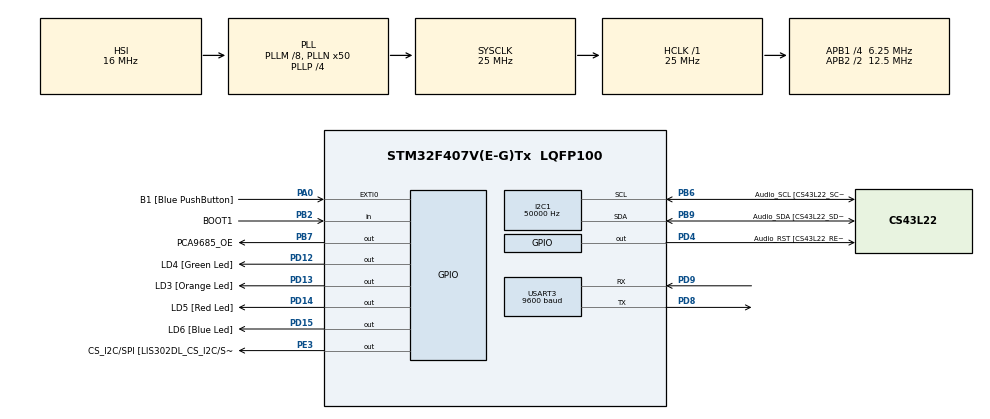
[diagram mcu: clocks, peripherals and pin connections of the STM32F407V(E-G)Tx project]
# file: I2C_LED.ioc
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I2C1.ClockSpeed=50000
Mcu.Family=STM32F4
Mcu.Name=STM32F407V(E-G)Tx
Mcu.Package=LQFP100
NVIC.PriorityGroup=NVIC_PRIORITYGROUP_0
NVIC.USART3_IRQn=true\:0\:0\:false\:false\:true\:true\:true\:true
PA0-WKUP.GPIO_Label=B1 [Blue PushButton]
PA0-WKUP.Signal=GPXTI0
PA4.GPIO_Label=I2S3_WS [CS43L22_LRCK]
PA4.GPIO_Mode=GPIO_MODE_AF_PP
PA4.GPIO_PuPd=GPIO_NOPULL
PA4.GPIO_Speed=GPIO_SPEED_FREQ_LOW
PA4.Signal=I2S3_WS
PA5.GPIO_Label=SPI1_SCK [LIS302DL_SCL/SPC]
PA5.GPIO_Mode=GPIO_MODE_AF_PP
PA5.GPIO_PuPd=GPIO_NOPULL
PA5.GPIO_Speed=GPIO_SPEED_FREQ_LOW
PA5.Signal=SPI1_SCK
PA6.GPIO_Label=SPI1_MISO [LIS302DL_SDO]
PA6.GPIO_Mode=GPIO_MODE_AF_PP
PA6.GPIO_PuPd=GPIO_NOPULL
PA6.GPIO_Speed=GPIO_SPEED_FREQ_LOW
PA6.Signal=SPI1_MISO
PA7.GPIO_Label=SPI1_MOSI [LIS302DL_SDA/SDI/SDO]
PA7.GPIO_Mode=GPIO_MODE_AF_PP
PA7.GPIO_PuPd=GPIO_NOPULL
PA7.GPIO_Speed=GPIO_SPEED_FREQ_LOW
PA7.Signal=SPI1_MOSI
PB10.GPIO_Label=CLK_IN [MP45DT02_CLK]
PB10.GPIO_Mode=GPIO_MODE_AF_PP
PB10.GPIO_PuPd=GPIO_NOPULL
PB10.GPIO_Speed=GPIO_SPEED_FREQ_LOW
PB10.Signal=I2S2_CK
PB2.GPIO_Label=BOOT1
PB2.GPIO_Mode=GPIO_MODE_INPUT
PB2.GPIO_PuPd=GPIO_NOPULL
PB2.Signal=GPIO_Input
PB3.GPIO_Label=SWO
PB3.Signal=SYS_JTDO-SWO
PB6.GPIO_Label=Audio_SCL [CS43L22_SCL]
PB6.GPIO_Mode=GPIO_MODE_AF_OD
PB6.GPIO_PuPd=GPIO_NOPULL
PB6.GPIO_Speed=GPIO_SPEED_FREQ_LOW
PB6.Mode=I2C
PB6.Signal=I2C1_SCL
PB7.GPIO_Label=PCA9685_OE
PB7.PinState=GPIO_PIN_SET
PB7.Signal=GPIO_Output
PB9.GPIO_Label=Audio_SDA [CS43L22_SDA]
PB9.GPIO_Mode=GPIO_MODE_AF_OD
PB9.GPIO_PuPd=GPIO_NOPULL
PB9.GPIO_Speed=GPIO_SPEED_FREQ_LOW
PB9.Mode=I2C
PB9.Signal=I2C1_SDA
PC10.GPIO_Label=I2S3_SCK [CS43L22_SCLK]
PC10.GPIO_Mode=GPIO_MODE_AF_PP
PC10.GPIO_PuPd=GPIO_NOPULL
PC10.GPIO_Speed=GPIO_SPEED_FREQ_LOW
PC10.Signal=I2S3_CK
PC12.GPIO_Label=I2S3_SD [CS43L22_SDIN]
PC12.GPIO_Mode=GPIO_MODE_AF_PP
PC12.GPIO_PuPd=GPIO_NOPULL
PC12.GPIO_Speed=GPIO_SPEED_FREQ_LOW
PC12.Signal=I2S3_SD
PC7.GPIO_Label=I2S3_MCK [CS43L22_MCLK]
PC7.GPIO_Mode=GPIO_MODE_AF_PP
PC7.GPIO_PuPd=GPIO_NOPULL
PC7.GPIO_Speed=GPIO_SPEED_FREQ_LOW
PC7.Signal=I2S3_MCK
PD12.GPIO_Label=LD4 [Green Led]
PD12.GPIO_PuPd=GPIO_NOPULL
PD12.GPIO_Speed=GPIO_SPEED_FREQ_LOW
PD12.Signal=GPIO_Output
PD13.GPIO_Label=LD3 [Orange Led]
PD13.GPIO_PuPd=GPIO_NOPULL
PD13.GPIO_Speed=GPIO_SPEED_FREQ_LOW
PD13.Signal=GPIO_Output
PD14.GPIO_Label=LD5 [Red Led]
PD14.GPIO_PuPd=GPIO_NOPULL
PD14.GPIO_Speed=GPIO_SPEED_FREQ_LOW
PD14.Signal=GPIO_Output
PD15.GPIO_Label=LD6 [Blue Led]
PD15.GPIO_PuPd=GPIO_NOPULL
PD15.GPIO_Speed=GPIO_SPEED_FREQ_LOW
PD15.Signal=GPIO_Output
PD4.GPIO_Label=Audio_RST [CS43L22_RESET]
PD4.GPIO_PuPd=GPIO_NOPULL
PD4.GPIO_Speed=GPIO_SPEED_FREQ_LOW
PD4.Signal=GPIO_Output
PD8.Mode=Asynchronous
PD8.Signal=USART3_TX
PD9.Mode=Asynchronous
PD9.Signal=USART3_RX
PE3.GPIO_Label=CS_I2C/SPI [LIS302DL_CS_I2C/SPI]
PE3.GPIO_PuPd=GPIO_NOPULL
PE3.GPIO_Speed=GPIO_SPEED_FREQ_LOW
PE3.Signal=GPIO_Output
ProjectManager.HeapSize=0x200
ProjectManager.StackSize=0x400
ProjectManager.TargetToolchain=STM32CubeIDE
RCC.48MHZClocksFreq_Value=14285714.285714285
RCC.AHBFreq_Value=25000000
RCC.APB1CLKDivider=RCC_HCLK_DIV4
RCC.APB1Freq_Value=6250000
RCC.APB1TimFreq_Value=12500000
RCC.APB2CLKDivider=RCC_HCLK_DIV2
RCC.APB2Freq_Value=12500000
RCC.APB2TimFreq_Value=25000000
RCC.CortexFreq_Value=25000000
RCC.HCLKFreq_Value=25000000
RCC.HSE_VALUE=8000000
RCC.HSI_VALUE=16000000
RCC.LSE_VALUE=32768
RCC.PLLM=8
RCC.PLLN=50
RCC.PLLP=RCC_PLLP_DIV4
RCC.PLLQ=7
RCC.SYSCLKFreq_VALUE=25000000
RCC.SYSCLKSource=RCC_SYSCLKSOURCE_PLLCLK
RCC.VCOOutputFreq_Value=100000000
USART3.BaudRate=9600
USART3.VirtualMode=VM_ASYNC
board=STM32F407G-DISC1

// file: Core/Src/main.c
/* USER CODE BEGIN Header */
/**
  ******************************************************************************
  * @file           : main.c
  * @brief          : Main program body
  ******************************************************************************
  * @attention
  *
  * Copyright (c) 2026 STMicroelectronics.
  * All rights reserved.
  *
  * This software is licensed under terms that can be found in the LICENSE file
  * in the root directory of this software component.
  * If no LICENSE file comes with this software, it is provided AS-IS.
  *
  ******************************************************************************
  */
/* USER CODE END Header */
#include "main.h"

/* USER CODE BEGIN Includes */
#include "PCA9685_driver.h"

/* USER CODE END Includes */

/* USER CODE BEGIN PD */
#define SLEEP_MODE 0x10
#define PCA_ENABLE 0x01
#define PCA_DISABLED 0x00
#define STATUS_CONV(status) (status == HAL_OK) ? PCA9685_OK : PCA9685_ERROR
/* USER CODE END PD */

I2C_HandleTypeDef hi2c1;

UART_HandleTypeDef huart3;

/* USER CODE BEGIN PV */
uint16_t led_states[18];
uint8_t msg_buffer[4];
volatile uint8_t tx_complete = 1;
volatile uint8_t state_changed;
PCA9685_conf_t led_driver;
volatile pca9685_status_t status;
volatile char cmd;
/* USER CODE END PV */

void SystemClock_Config(void);
static void MX_GPIO_Init(void);
static void MX_I2C1_Init(void);
static void MX_USART3_UART_Init(void);
/* USER CODE BEGIN PFP */

pca9685_status_t stm32_sw_reset(void)
{
	HAL_StatusTypeDef status;
	uint8_t data = SW_DATA_BYTE;
	status = HAL_I2C_Master_Transmit(&hi2c1, SW_RESET_ADDR, &data, 1, PCA9685_I2C_TIMEOUT);
	return STATUS_CONV(status);
}

pca9685_status_t stm32_i2c_write(uint8_t dev_addr, uint8_t reg_addr, uint8_t *data, uint16_t len)
{
	HAL_StatusTypeDef status;

	status = HAL_I2C_Mem_Write(&hi2c1, dev_addr, reg_addr, I2C_MEMADD_SIZE_8BIT, data, len, PCA9685_I2C_TIMEOUT);
	return STATUS_CONV(status);
}

pca9685_status_t stm32_i2c_read(uint8_t dev_addr, uint8_t reg_addr, uint8_t *data, uint16_t len)
{
	HAL_StatusTypeDef status;
	status = HAL_I2C_Mem_Read(&hi2c1, dev_addr, reg_addr, I2C_MEMADD_SIZE_8BIT, data, len, PCA9685_I2C_TIMEOUT);
	return STATUS_CONV(status);
}

void stm32_set_oe(pca9685_oe_pin_state_t state)
{
	if(state == PCA9685_OE_ENABLE)
	{
		HAL_GPIO_WritePin(PCA9685_OE_GPIO_Port, PCA9685_OE_Pin, GPIO_PIN_RESET);
	}
	else
	{
		HAL_GPIO_WritePin(PCA9685_OE_GPIO_Port, PCA9685_OE_Pin, GPIO_PIN_SET);
	}
}

void stm32_delay(uint32_t ms)
{
	HAL_Delay(ms);
}

void HAL_UART_TxCpltCallback(UART_HandleTypeDef *huart)
{
	if(huart->Instance == USART3)
	{
		tx_complete = 1;
	}
}

void HAL_UART_RxCpltCallback(UART_HandleTypeDef *huart)
{
	if(huart->Instance == USART3)
	{
		cmd = msg_buffer[0];
	}

}

void run_command(char r_cmd)
{
	uint16_t payload = msg_buffer[2] | (msg_buffer[3] << 8);
	switch(cmd)
	{
	case 's':
	{
		status = PCA9685_set_sleep_mode(&led_driver);
		led_states[0] = led_states[0] | SLEEP_MODE;
		break;
	}
	case 'w':
	{
		status = PCA9685_wake_up(&led_driver);
		led_states[0] = led_states[0] & (~SLEEP_MODE);
		break;
	}
	case 'o':
	{
		if(msg_buffer[1] == 0)
		{
			status = PCA9685_set_oe(&led_driver, PCA9685_OE_DISABLE);
			led_states[0] = led_states[0] & (~PCA_ENABLE);
		}
		else
		{
			status = PCA9685_set_oe(&led_driver, PCA9685_OE_ENABLE);
			led_states[0] = led_states[0] | PCA_ENABLE;
		}
		break;
	}
	case 'f':
	{
		status = PCA9685_set_frequency(&led_driver, payload);
		led_states[1] = payload;
		break;
	}
	case 'd':
	{
		status = PCA9685_set_duty_cycle(&led_driver, msg_buffer[1], payload);
		if(msg_buffer[1] < 16)
		{
			led_states[2 + msg_buffer[1]] = payload;
		}
		break;
	}
	}
	cmd = 0;
	state_changed = 1;
	HAL_UART_Receive_IT(&huart3, (uint8_t*)msg_buffer, sizeof(msg_buffer));
}

/* USER CODE END PFP */

int main(void)
{

  /* MCU Configuration--------------------------------------------------------*/

  /* Reset of all peripherals, Initializes the Flash interface and the Systick. */
  HAL_Init();

  /* Configure the system clock */
  SystemClock_Config();

  /* Initialize all configured peripherals */
  MX_GPIO_Init();
  MX_I2C1_Init();
  MX_USART3_UART_Init();
  /* USER CODE BEGIN 2 */

  led_driver.sw_reset = stm32_sw_reset;
  led_driver.write = stm32_i2c_write;
  led_driver.read = stm32_i2c_read;
  led_driver.delay = stm32_delay;
  led_driver.set_oe = stm32_set_oe;
  led_driver.i2c_address = (0x40 << 1);

  if (PCA9685_init(&led_driver, 200) != PCA9685_OK)
  {
	  Error_Handler();
  }

  if (PCA9685_set_oe(&led_driver, PCA9685_OE_ENABLE) != PCA9685_OK)
  {
	  Error_Handler();
  }
  led_states[0] = led_states[0] | PCA_ENABLE;
  HAL_UART_Receive_IT(&huart3, (uint8_t*)msg_buffer, sizeof(msg_buffer));
  /* USER CODE END 2 */

  /* Infinite loop */
  while (1)
  {

    /* USER CODE BEGIN 3 */
	  if(cmd)
	  {
		  run_command(cmd);
	  }
	  __disable_irq();
	  if(tx_complete && state_changed)
	  {
		  tx_complete = 0;
		  state_changed = 0;
		  __enable_irq();
		  HAL_UART_Transmit_IT(&huart3, (uint8_t*)led_states, sizeof(led_states));
		  __disable_irq();
	  }
	  if (tx_complete == 1 && state_changed == 0 && cmd == 0)
	  {
		 HAL_SuspendTick();
		 HAL_PWR_EnterSLEEPMode(PWR_MAINREGULATOR_ON, PWR_SLEEPENTRY_WFI);
		 HAL_ResumeTick();
		 __enable_irq();
	  }
	  else
	  {
		  __enable_irq();
	  }
	  if(status != PCA9685_OK)
	  {
		  Error_Handler();
	  }
  }
  /* USER CODE END 3 */
}

void SystemClock_Config(void)
{
  RCC_OscInitTypeDef RCC_OscInitStruct = {0};
  RCC_ClkInitTypeDef RCC_ClkInitStruct = {0};

  /** Configure the main internal regulator output voltage
  */
  __HAL_RCC_PWR_CLK_ENABLE();
  __HAL_PWR_VOLTAGESCALING_CONFIG(PWR_REGULATOR_VOLTAGE_SCALE1);

  /** Initializes the RCC Oscillators according to the specified parameters
  * in the RCC_OscInitTypeDef structure.
  */
  RCC_OscInitStruct.OscillatorType = RCC_OSCILLATORTYPE_HSI;
  RCC_OscInitStruct.HSIState = RCC_HSI_ON;
  RCC_OscInitStruct.HSICalibrationValue = RCC_HSICALIBRATION_DEFAULT;
  RCC_OscInitStruct.PLL.PLLState = RCC_PLL_ON;
  RCC_OscInitStruct.PLL.PLLSource = RCC_PLLSOURCE_HSI;
  RCC_OscInitStruct.PLL.PLLM = 8;
  RCC_OscInitStruct.PLL.PLLN = 50;
  RCC_OscInitStruct.PLL.PLLP = RCC_PLLP_DIV4;
  RCC_OscInitStruct.PLL.PLLQ = 7;
  if (HAL_RCC_OscConfig(&RCC_OscInitStruct) != HAL_OK)
  {
    Error_Handler();
  }

  /** Initializes the CPU, AHB and APB buses clocks
  */
  RCC_ClkInitStruct.ClockType = RCC_CLOCKTYPE_HCLK|RCC_CLOCKTYPE_SYSCLK
                              |RCC_CLOCKTYPE_PCLK1|RCC_CLOCKTYPE_PCLK2;
  RCC_ClkInitStruct.SYSCLKSource = RCC_SYSCLKSOURCE_PLLCLK;
  RCC_ClkInitStruct.AHBCLKDivider = RCC_SYSCLK_DIV1;
  RCC_ClkInitStruct.APB1CLKDivider = RCC_HCLK_DIV4;
  RCC_ClkInitStruct.APB2CLKDivider = RCC_HCLK_DIV2;

  if (HAL_RCC_ClockConfig(&RCC_ClkInitStruct, FLASH_LATENCY_0) != HAL_OK)
  {
    Error_Handler();
  }
}

static void MX_I2C1_Init(void)
{

  hi2c1.Instance = I2C1;
  hi2c1.Init.ClockSpeed = 50000;
  hi2c1.Init.DutyCycle = I2C_DUTYCYCLE_2;
  hi2c1.Init.OwnAddress1 = 0;
  hi2c1.Init.AddressingMode = I2C_ADDRESSINGMODE_7BIT;
  hi2c1.Init.DualAddressMode = I2C_DUALADDRESS_DISABLE;
  hi2c1.Init.OwnAddress2 = 0;
  hi2c1.Init.GeneralCallMode = I2C_GENERALCALL_DISABLE;
  hi2c1.Init.NoStretchMode = I2C_NOSTRETCH_DISABLE;
  if (HAL_I2C_Init(&hi2c1) != HAL_OK)
  {
    Error_Handler();
  }

}

static void MX_USART3_UART_Init(void)
{

  huart3.Instance = USART3;
  huart3.Init.BaudRate = 9600;
  huart3.Init.WordLength = UART_WORDLENGTH_8B;
  huart3.Init.StopBits = UART_STOPBITS_1;
  huart3.Init.Parity = UART_PARITY_NONE;
  huart3.Init.Mode = UART_MODE_TX_RX;
  huart3.Init.HwFlowCtl = UART_HWCONTROL_NONE;
  huart3.Init.OverSampling = UART_OVERSAMPLING_16;
  if (HAL_UART_Init(&huart3) != HAL_OK)
  {
    Error_Handler();
  }

}

static void MX_GPIO_Init(void)
{
  GPIO_InitTypeDef GPIO_InitStruct = {0};

  /* GPIO Ports Clock Enable */
  __HAL_RCC_GPIOE_CLK_ENABLE();
  __HAL_RCC_GPIOA_CLK_ENABLE();
  __HAL_RCC_GPIOB_CLK_ENABLE();
  __HAL_RCC_GPIOD_CLK_ENABLE();
  __HAL_RCC_GPIOC_CLK_ENABLE();

  /*Configure GPIO pin Output Level */
  HAL_GPIO_WritePin(CS_I2C_SPI_GPIO_Port, CS_I2C_SPI_Pin, GPIO_PIN_RESET);

  /*Configure GPIO pin Output Level */
  HAL_GPIO_WritePin(GPIOD, LD4_Pin|LD3_Pin|LD5_Pin|LD6_Pin
                          |Audio_RST_Pin, GPIO_PIN_RESET);

  /*Configure GPIO pin Output Level */
  HAL_GPIO_WritePin(PCA9685_OE_GPIO_Port, PCA9685_OE_Pin, GPIO_PIN_SET);

  /*Configure GPIO pin : CS_I2C_SPI_Pin */
  GPIO_InitStruct.Pin = CS_I2C_SPI_Pin;
  GPIO_InitStruct.Mode = GPIO_MODE_OUTPUT_PP;
  GPIO_InitStruct.Pull = GPIO_NOPULL;
  GPIO_InitStruct.Speed = GPIO_SPEED_FREQ_LOW;
  HAL_GPIO_Init(CS_I2C_SPI_GPIO_Port, &GPIO_InitStruct);

  /*Configure GPIO pin : B1_Pin */
  GPIO_InitStruct.Pin = B1_Pin;
  GPIO_InitStruct.Mode = GPIO_MODE_IT_RISING;
  GPIO_InitStruct.Pull = GPIO_NOPULL;
  HAL_GPIO_Init(B1_GPIO_Port, &GPIO_InitStruct);

  /*Configure GPIO pin : I2S3_WS_Pin */
  GPIO_InitStruct.Pin = I2S3_WS_Pin;
  GPIO_InitStruct.Mode = GPIO_MODE_AF_PP;
  GPIO_InitStruct.Pull = GPIO_NOPULL;
  GPIO_InitStruct.Speed = GPIO_SPEED_FREQ_LOW;
  GPIO_InitStruct.Alternate = GPIO_AF6_SPI3;
  HAL_GPIO_Init(I2S3_WS_GPIO_Port, &GPIO_InitStruct);

  /*Configure GPIO pins : SPI1_SCK_Pin SPI1_MISO_Pin SPI1_MOSI_Pin */
  GPIO_InitStruct.Pin = SPI1_SCK_Pin|SPI1_MISO_Pin|SPI1_MOSI_Pin;
  GPIO_InitStruct.Mode = GPIO_MODE_AF_PP;
  GPIO_InitStruct.Pull = GPIO_NOPULL;
  GPIO_InitStruct.Speed = GPIO_SPEED_FREQ_LOW;
  GPIO_InitStruct.Alternate = GPIO_AF5_SPI1;
  HAL_GPIO_Init(GPIOA, &GPIO_InitStruct);

  /*Configure GPIO pin : BOOT1_Pin */
  GPIO_InitStruct.Pin = BOOT1_Pin;
  GPIO_InitStruct.Mode = GPIO_MODE_INPUT;
  GPIO_InitStruct.Pull = GPIO_NOPULL;
  HAL_GPIO_Init(BOOT1_GPIO_Port, &GPIO_InitStruct);

  /*Configure GPIO pin : CLK_IN_Pin */
  GPIO_InitStruct.Pin = CLK_IN_Pin;
  GPIO_InitStruct.Mode = GPIO_MODE_AF_PP;
  GPIO_InitStruct.Pull = GPIO_NOPULL;
  GPIO_InitStruct.Speed = GPIO_SPEED_FREQ_LOW;
  GPIO_InitStruct.Alternate = GPIO_AF5_SPI2;
  HAL_GPIO_Init(CLK_IN_GPIO_Port, &GPIO_InitStruct);

  /*Configure GPIO pins : LD4_Pin LD3_Pin LD5_Pin LD6_Pin
                           Audio_RST_Pin */
  GPIO_InitStruct.Pin = LD4_Pin|LD3_Pin|LD5_Pin|LD6_Pin
                          |Audio_RST_Pin;
  GPIO_InitStruct.Mode = GPIO_MODE_OUTPUT_PP;
  GPIO_InitStruct.Pull = GPIO_NOPULL;
  GPIO_InitStruct.Speed = GPIO_SPEED_FREQ_LOW;
  HAL_GPIO_Init(GPIOD, &GPIO_InitStruct);

  /*Configure GPIO pins : I2S3_MCK_Pin I2S3_SCK_Pin I2S3_SD_Pin */
  GPIO_InitStruct.Pin = I2S3_MCK_Pin|I2S3_SCK_Pin|I2S3_SD_Pin;
  GPIO_InitStruct.Mode = GPIO_MODE_AF_PP;
  GPIO_InitStruct.Pull = GPIO_NOPULL;
  GPIO_InitStruct.Speed = GPIO_SPEED_FREQ_LOW;
  GPIO_InitStruct.Alternate = GPIO_AF6_SPI3;
  HAL_GPIO_Init(GPIOC, &GPIO_InitStruct);

  /*Configure GPIO pin : PCA9685_OE_Pin */
  GPIO_InitStruct.Pin = PCA9685_OE_Pin;
  GPIO_InitStruct.Mode = GPIO_MODE_OUTPUT_PP;
  GPIO_InitStruct.Pull = GPIO_NOPULL;
  GPIO_InitStruct.Speed = GPIO_SPEED_FREQ_LOW;
  HAL_GPIO_Init(PCA9685_OE_GPIO_Port, &GPIO_InitStruct);

}

void Error_Handler(void)
{
  __disable_irq();
  while (1)
  {
  }
}
